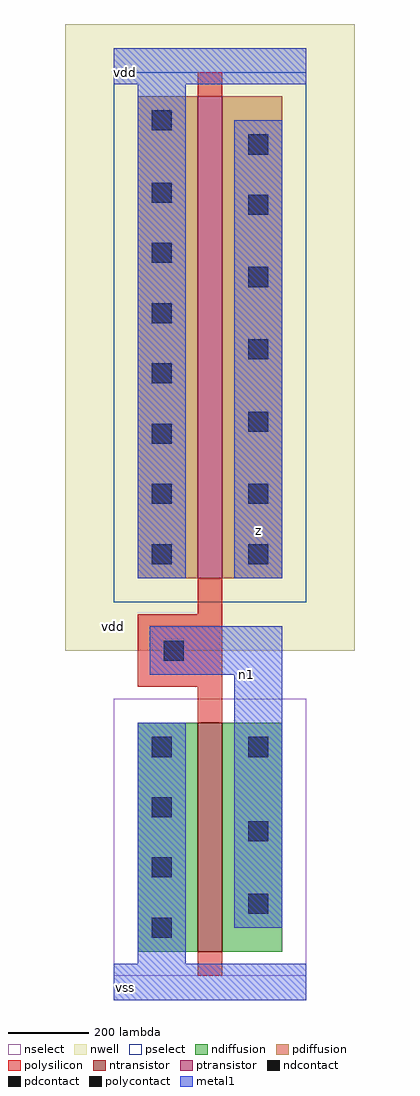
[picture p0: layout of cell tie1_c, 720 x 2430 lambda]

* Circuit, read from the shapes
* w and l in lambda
.subckt tie1_c z vdd vss
M1 n1 n1 vss VSUBS nfet w=570 l=60
M2 z n1 vdd vdd pfet w=1200 l=60
.ends

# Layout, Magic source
magic
tech amic5n
<< nwell >>
rect -120 870 600 2430
<< nselect >>
rect 0 60 480 750
<< pselect >>
rect 0 990 480 2310
<< ntransistor >>
rect 210 120 270 690
<< ptransistor >>
rect 210 1050 270 2250
<< ndiffusion >>
rect 60 120 210 690
rect 270 120 420 690
<< pdiffusion >>
rect 60 1050 210 2250
rect 270 1050 420 2250
<< polysilicon >>
rect 210 2250 270 2310
rect 210 960 270 1050
rect 60 780 270 960
rect 210 690 270 780
rect 210 60 270 120
<< pdcontact >>
rect 95 2165 145 2215
<< pdcontact >>
rect 335 2105 385 2155
<< pdcontact >>
rect 95 1985 145 2035
<< pdcontact >>
rect 335 1955 385 2005
<< pdcontact >>
rect 95 1835 145 1885
<< pdcontact >>
rect 335 1775 385 1825
<< pdcontact >>
rect 95 1685 145 1735
<< pdcontact >>
rect 335 1595 385 1645
<< pdcontact >>
rect 95 1535 145 1585
<< pdcontact >>
rect 95 1385 145 1435
<< pdcontact >>
rect 335 1415 385 1465
<< pdcontact >>
rect 95 1235 145 1285
<< pdcontact >>
rect 335 1235 385 1285
<< pdcontact >>
rect 95 1085 145 1135
<< pdcontact >>
rect 335 1085 385 1135
<< polycontact >>
rect 125 845 175 895
<< ndcontact >>
rect 95 605 145 655
<< ndcontact >>
rect 335 605 385 655
<< ndcontact >>
rect 95 455 145 505
<< ndcontact >>
rect 335 395 385 445
<< ndcontact >>
rect 95 305 145 355
<< ndcontact >>
rect 335 215 385 265
<< ndcontact >>
rect 95 155 145 205
<< metal1 >>
rect 0 2280 480 2370
rect 60 1050 180 2280
rect 300 1050 420 2190
rect 90 810 420 930
rect 60 90 180 690
rect 300 180 420 810
rect 0 0 480 90
<< labels >>
flabel metal1 s 30 30 30 30 2 FreeSans 400 0 0 0 vss
port 4 ne
flabel metal1 s 30 2310 30 2310 2 FreeSans 400 0 0 0 vdd
port 3 ne
flabel nwell  0 930 0 930 2 FreeSans 400 0 0 0 vdd
flabel metal1 s 360 1170 360 1170 2 FreeSans 400 0 0 0 z
port 1 ne
flabel metal1 s 330 810 330 810 2 FreeSans 400 0 0 0 n1
<< end >>
